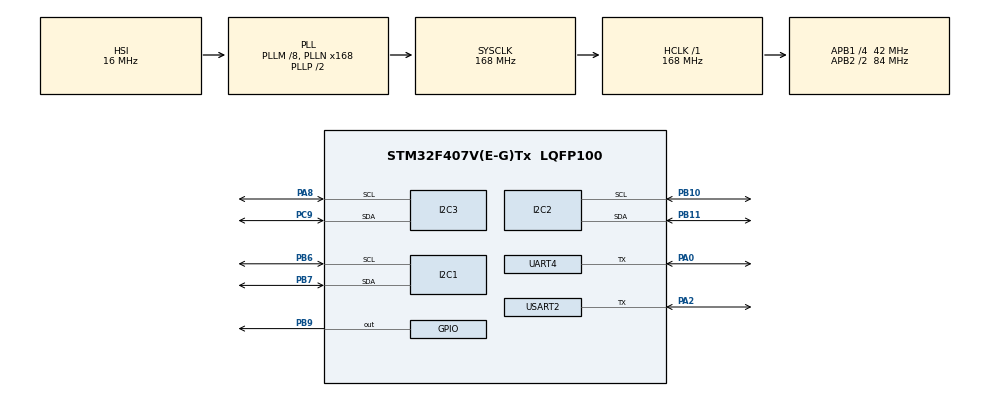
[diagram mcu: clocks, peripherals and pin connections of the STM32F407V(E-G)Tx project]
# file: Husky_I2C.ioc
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Mcu.Family=STM32F4
Mcu.Name=STM32F407V(E-G)Tx
Mcu.Package=LQFP100
NVIC.PriorityGroup=NVIC_PRIORITYGROUP_4
PA0-WKUP.Mode=Half_duplex(single_wire_mode)
PA0-WKUP.Signal=UART4_TX
PA13.Mode=Serial_Wire
PA13.Signal=SYS_JTMS-SWDIO
PA14.Mode=Serial_Wire
PA14.Signal=SYS_JTCK-SWCLK
PA2.Mode=Half_duplex(single_wire_mode)
PA2.Signal=USART2_TX
PA8.GPIO_Pu=GPIO_PULLUP
PA8.Mode=I2C
PA8.Signal=I2C3_SCL
PB10.Mode=I2C
PB10.Signal=I2C2_SCL
PB11.Mode=I2C
PB11.Signal=I2C2_SDA
PB6.Mode=I2C
PB6.Signal=I2C1_SCL
PB7.Mode=I2C
PB7.Signal=I2C1_SDA
PB9.Signal=GPIO_Output
PC9.GPIO_Pu=GPIO_PULLUP
PC9.Mode=I2C
PC9.Signal=I2C3_SDA
PH0-OSC_IN.Mode=HSE-External-Oscillator
PH0-OSC_IN.Signal=RCC_OSC_IN
PH1-OSC_OUT.Mode=HSE-External-Oscillator
PH1-OSC_OUT.Signal=RCC_OSC_OUT
ProjectManager.HeapSize=0x200
ProjectManager.StackSize=0x400
ProjectManager.TargetToolchain=MDK-ARM V5.32
RCC.48MHZClocksFreq_Value=84000000
RCC.AHBFreq_Value=168000000
RCC.APB1CLKDivider=RCC_HCLK_DIV4
RCC.APB1Freq_Value=42000000
RCC.APB1TimFreq_Value=84000000
RCC.APB2CLKDivider=RCC_HCLK_DIV2
RCC.APB2Freq_Value=84000000
RCC.APB2TimFreq_Value=168000000
RCC.CortexFreq_Value=168000000
RCC.HCLKFreq_Value=168000000
RCC.HSE_VALUE=25000000
RCC.HSI_VALUE=16000000
RCC.LSE_VALUE=32768
RCC.PLLM=8
RCC.PLLN=168
RCC.SYSCLKFreq_VALUE=168000000
RCC.SYSCLKSource=RCC_SYSCLKSOURCE_PLLCLK
RCC.VCOOutputFreq_Value=336000000
UART4.BaudRate=1000000
UART4.VirtualMode=Asynchronous
USART2.BaudRate=1000000
USART2.VirtualMode=VM_ASYNC
board=custom

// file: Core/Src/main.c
/* USER CODE BEGIN Header */
/**
  ******************************************************************************
  * @file           : main.c
  * @brief          : Main program body
  ******************************************************************************
  * @attention
  *
  * Copyright (c) 2023 STMicroelectronics.
  * All rights reserved.
  *
  * This software is licensed under terms that can be found in the LICENSE file
  * in the root directory of this software component.
  * If no LICENSE file comes with this software, it is provided AS-IS.
  *
  ******************************************************************************
  */
/* USER CODE END Header */
#include "main.h"

/* USER CODE BEGIN Includes */
#include "Huskylens_driver.h"
#include "Dynamixel.h"
#include "Fuzzy.h"
#include "PID_driver.h"
/* USER CODE END Includes */

/* USER CODE BEGIN PTD */
//#define USE_FUZZY
#define USE_PID
#define SAMPLE_TIME_S 0.01f
/* USER CODE END PTD */

I2C_HandleTypeDef hi2c1;
I2C_HandleTypeDef hi2c2;
I2C_HandleTypeDef hi2c3;

UART_HandleTypeDef huart4;
UART_HandleTypeDef huart2;

void SystemClock_Config(void);
static void MX_GPIO_Init(void);
static void MX_I2C1_Init(void);
static void MX_I2C2_Init(void);
static void MX_USART2_UART_Init(void);
static void MX_I2C3_Init(void);
static void MX_UART4_Init(void);

/* USER CODE BEGIN 0 */
huskylens_info_t huskAll;
huskylens_status_t status;
huskylens_arrow_t arrows;
huskylens_block_t blocks;
huskylens_all_byid_t id;

dynamixel_t ax;
uint16_t sudut = 0;

#ifdef USE_PID
// PID kontrol pencarian korban
PIDController pid_pk;
#endif

#ifdef USE_FUZZY
Fuzzy_input_t input_fuzzy;
Fuzzy_output_t output_fuzzy;
Fuzzy_fuzzyfication_t fuz_fic_input;
Fuzzy_defuz_t defuz;
double res;
#endif
/* USER CODE END 0 */

int main(void)
{

  /* MCU Configuration--------------------------------------------------------*/

  /* Reset of all peripherals, Initializes the Flash interface and the Systick. */
  HAL_Init();

  /* Configure the system clock */
  SystemClock_Config();

  /* Initialize all configured peripherals */
  MX_GPIO_Init();
  MX_I2C1_Init();
  MX_I2C2_Init();
  MX_USART2_UART_Init();
  MX_I2C3_Init();
  MX_UART4_Init();
  /* USER CODE BEGIN 2 */

	#ifdef USE_FUZZY
	fuzzy_set_membership_input(&input_fuzzy, 0, 160, 320);
	fuzzy_set_membership_output(&output_fuzzy, -23, 0, 23);
	#endif

	#ifdef USE_PID
	pid_pk.Kp = 1; 			pid_pk.Ki = 0; 			pid_pk.Kd = 1; 			pid_pk.tau = 0.02;
	pid_pk.limMax = 30; 	pid_pk.limMin = -30; 	pid_pk.limMaxInt = 5; 	pid_pk.limMinInt = -5;
	pid_pk.T_sample = SAMPLE_TIME_S;
	PIDController_Init(&pid_pk);
	float setpoint = 160;
	#endif

	if(husky_setup(&hi2c2) == HUSKY_OK){
		HAL_GPIO_TogglePin(GPIOD, GPIO_PIN_12);
	}
	huskAll = husky_getAllArrowBlock();

	dyna_init(&huart4, &ax, 0x11);
	dyna_calibrate(&ax);
	dyna_scan(&ax, 0, 100,MOVING_CW);

  /* USER CODE END 2 */

  /* Infinite loop */
  /* USER CODE BEGIN WHILE */
  while (1)
  {
		blocks = husky_getBlocks();

		if(blocks.id == 1){

//			// Stop now position
			sudut = dyna_read_posisition(&ax);
//  		dyna_set_goal_position(&ax, sudut);

			#ifdef USE_FUZZY
			fuzzy_fuzfication_input(&input_fuzzy, &fuz_fic_input, blocks.X_center);
			fuzzy_logic_rule(&output_fuzzy, &fuz_fic_input, &defuz, FUZZY_MIN_TO_MAX);
			res = fuzzy_defuz(&defuz,&fuz_fic_input);

			if(res >= 0){
				dyna_set_moving_speed(&ax, 50, MOVING_CW);
				dyna_set_goal_position(&ax, sudut-res);
			}
			else if(res < 0){
				dyna_set_moving_speed(&ax, 50, MOVING_CCW);
				dyna_set_goal_position(&ax, sudut-res);
			}
			#endif

			#ifdef USE_PID
			for (float t = 0.0f; t <= 5; t += SAMPLE_TIME_S) {

        /* Get measurement from system */
        float measurement = blocks.X_center;

        /* Compute new control signal */
        PIDController_Update(&pid_pk, setpoint, measurement);

				if(pid_pk.out >= 0){
				dyna_set_moving_speed(&ax, 50, MOVING_CW);
				dyna_set_goal_position(&ax, sudut+pid_pk.out);
				}
				else if(pid_pk.out < 0){
					dyna_set_moving_speed(&ax, 50, MOVING_CCW);
					dyna_set_goal_position(&ax, sudut+pid_pk.out);
				}
			}
			#endif
		}

		// Manual
//		if((blocks.id == 1) && (blocks.X_center <= 170) && (blocks.X_center >= 150)){
//			sudut = dyna_read_posisition(&ax);
//			dyna_set_goal_position(&ax, sudut);
//		}

    /* USER CODE END WHILE */

  }
}

void SystemClock_Config(void)
{
  RCC_OscInitTypeDef RCC_OscInitStruct = {0};
  RCC_ClkInitTypeDef RCC_ClkInitStruct = {0};

  /** Configure the main internal regulator output voltage
  */
  __HAL_RCC_PWR_CLK_ENABLE();
  __HAL_PWR_VOLTAGESCALING_CONFIG(PWR_REGULATOR_VOLTAGE_SCALE1);

  /** Initializes the RCC Oscillators according to the specified parameters
  * in the RCC_OscInitTypeDef structure.
  */
  RCC_OscInitStruct.OscillatorType = RCC_OSCILLATORTYPE_HSI;
  RCC_OscInitStruct.HSIState = RCC_HSI_ON;
  RCC_OscInitStruct.HSICalibrationValue = RCC_HSICALIBRATION_DEFAULT;
  RCC_OscInitStruct.PLL.PLLState = RCC_PLL_ON;
  RCC_OscInitStruct.PLL.PLLSource = RCC_PLLSOURCE_HSI;
  RCC_OscInitStruct.PLL.PLLM = 8;
  RCC_OscInitStruct.PLL.PLLN = 168;
  RCC_OscInitStruct.PLL.PLLP = RCC_PLLP_DIV2;
  RCC_OscInitStruct.PLL.PLLQ = 4;
  if (HAL_RCC_OscConfig(&RCC_OscInitStruct) != HAL_OK)
  {
    Error_Handler();
  }

  /** Initializes the CPU, AHB and APB buses clocks
  */
  RCC_ClkInitStruct.ClockType = RCC_CLOCKTYPE_HCLK|RCC_CLOCKTYPE_SYSCLK
                              |RCC_CLOCKTYPE_PCLK1|RCC_CLOCKTYPE_PCLK2;
  RCC_ClkInitStruct.SYSCLKSource = RCC_SYSCLKSOURCE_PLLCLK;
  RCC_ClkInitStruct.AHBCLKDivider = RCC_SYSCLK_DIV1;
  RCC_ClkInitStruct.APB1CLKDivider = RCC_HCLK_DIV4;
  RCC_ClkInitStruct.APB2CLKDivider = RCC_HCLK_DIV2;

  if (HAL_RCC_ClockConfig(&RCC_ClkInitStruct, FLASH_LATENCY_5) != HAL_OK)
  {
    Error_Handler();
  }
}

static void MX_I2C1_Init(void)
{

  hi2c1.Instance = I2C1;
  hi2c1.Init.ClockSpeed = 100000;
  hi2c1.Init.DutyCycle = I2C_DUTYCYCLE_2;
  hi2c1.Init.OwnAddress1 = 0;
  hi2c1.Init.AddressingMode = I2C_ADDRESSINGMODE_7BIT;
  hi2c1.Init.DualAddressMode = I2C_DUALADDRESS_DISABLE;
  hi2c1.Init.OwnAddress2 = 0;
  hi2c1.Init.GeneralCallMode = I2C_GENERALCALL_DISABLE;
  hi2c1.Init.NoStretchMode = I2C_NOSTRETCH_DISABLE;
  if (HAL_I2C_Init(&hi2c1) != HAL_OK)
  {
    Error_Handler();
  }

}

static void MX_I2C2_Init(void)
{

  hi2c2.Instance = I2C2;
  hi2c2.Init.ClockSpeed = 100000;
  hi2c2.Init.DutyCycle = I2C_DUTYCYCLE_2;
  hi2c2.Init.OwnAddress1 = 0;
  hi2c2.Init.AddressingMode = I2C_ADDRESSINGMODE_7BIT;
  hi2c2.Init.DualAddressMode = I2C_DUALADDRESS_DISABLE;
  hi2c2.Init.OwnAddress2 = 0;
  hi2c2.Init.GeneralCallMode = I2C_GENERALCALL_DISABLE;
  hi2c2.Init.NoStretchMode = I2C_NOSTRETCH_DISABLE;
  if (HAL_I2C_Init(&hi2c2) != HAL_OK)
  {
    Error_Handler();
  }

}

static void MX_I2C3_Init(void)
{

  hi2c3.Instance = I2C3;
  hi2c3.Init.ClockSpeed = 100000;
  hi2c3.Init.DutyCycle = I2C_DUTYCYCLE_2;
  hi2c3.Init.OwnAddress1 = 0;
  hi2c3.Init.AddressingMode = I2C_ADDRESSINGMODE_7BIT;
  hi2c3.Init.DualAddressMode = I2C_DUALADDRESS_DISABLE;
  hi2c3.Init.OwnAddress2 = 0;
  hi2c3.Init.GeneralCallMode = I2C_GENERALCALL_DISABLE;
  hi2c3.Init.NoStretchMode = I2C_NOSTRETCH_DISABLE;
  if (HAL_I2C_Init(&hi2c3) != HAL_OK)
  {
    Error_Handler();
  }

}

static void MX_UART4_Init(void)
{

  huart4.Instance = UART4;
  huart4.Init.BaudRate = 1000000;
  huart4.Init.WordLength = UART_WORDLENGTH_8B;
  huart4.Init.StopBits = UART_STOPBITS_1;
  huart4.Init.Parity = UART_PARITY_NONE;
  huart4.Init.Mode = UART_MODE_TX_RX;
  huart4.Init.HwFlowCtl = UART_HWCONTROL_NONE;
  huart4.Init.OverSampling = UART_OVERSAMPLING_16;
  if (HAL_HalfDuplex_Init(&huart4) != HAL_OK)
  {
    Error_Handler();
  }

}

static void MX_USART2_UART_Init(void)
{

  huart2.Instance = USART2;
  huart2.Init.BaudRate = 1000000;
  huart2.Init.WordLength = UART_WORDLENGTH_8B;
  huart2.Init.StopBits = UART_STOPBITS_1;
  huart2.Init.Parity = UART_PARITY_NONE;
  huart2.Init.Mode = UART_MODE_TX_RX;
  huart2.Init.HwFlowCtl = UART_HWCONTROL_NONE;
  huart2.Init.OverSampling = UART_OVERSAMPLING_16;
  if (HAL_HalfDuplex_Init(&huart2) != HAL_OK)
  {
    Error_Handler();
  }

}

static void MX_GPIO_Init(void)
{
  GPIO_InitTypeDef GPIO_InitStruct = {0};

  /* GPIO Ports Clock Enable */
  __HAL_RCC_GPIOH_CLK_ENABLE();
  __HAL_RCC_GPIOA_CLK_ENABLE();
  __HAL_RCC_GPIOB_CLK_ENABLE();
  __HAL_RCC_GPIOC_CLK_ENABLE();

  /*Configure GPIO pin Output Level */
  HAL_GPIO_WritePin(GPIOB, GPIO_PIN_9, GPIO_PIN_RESET);

  /*Configure GPIO pin : PB9 */
  GPIO_InitStruct.Pin = GPIO_PIN_9;
  GPIO_InitStruct.Mode = GPIO_MODE_OUTPUT_PP;
  GPIO_InitStruct.Pull = GPIO_NOPULL;
  GPIO_InitStruct.Speed = GPIO_SPEED_FREQ_LOW;
  HAL_GPIO_Init(GPIOB, &GPIO_InitStruct);

}

void Error_Handler(void)
{
  __disable_irq();
  while (1)
  {
  }
}
